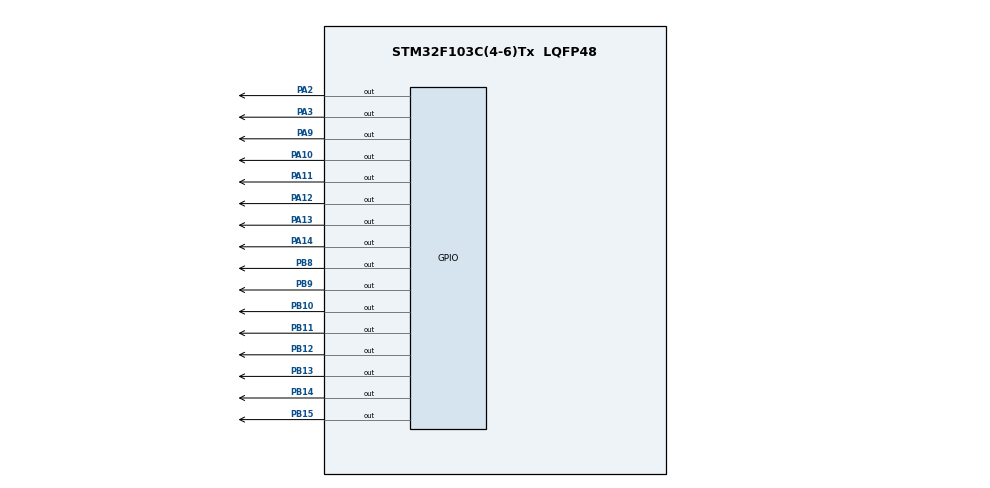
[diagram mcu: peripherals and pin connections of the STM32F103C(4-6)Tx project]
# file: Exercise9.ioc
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Mcu.Family=STM32F1
Mcu.Name=STM32F103C(4-6)Tx
Mcu.Package=LQFP48
NVIC.PriorityGroup=NVIC_PRIORITYGROUP_4
NVIC.TIM2_IRQn=true\:0\:0\:false\:false\:true\:true\:true
PA10.Signal=GPIO_Output
PA11.Signal=GPIO_Output
PA12.Signal=GPIO_Output
PA13.Signal=GPIO_Output
PA14.Signal=GPIO_Output
PA2.Signal=GPIO_Output
PA3.Signal=GPIO_Output
PA9.Signal=GPIO_Output
PB10.Signal=GPIO_Output
PB11.Signal=GPIO_Output
PB12.Signal=GPIO_Output
PB13.Signal=GPIO_Output
PB14.Signal=GPIO_Output
PB15.Signal=GPIO_Output
PB8.Signal=GPIO_Output
PB9.Signal=GPIO_Output
PD0-OSC_IN.Mode=HSE-External-Oscillator
PD0-OSC_IN.Signal=RCC_OSC_IN
PD1-OSC_OUT.Mode=HSE-External-Oscillator
PD1-OSC_OUT.Signal=RCC_OSC_OUT
ProjectManager.HeapSize=0x200
ProjectManager.StackSize=0x400
ProjectManager.TargetToolchain=STM32CubeIDE
RCC.APB1Freq_Value=8000000
RCC.APB2Freq_Value=8000000
TIM2.Period=10-1
TIM2.Prescaler=800-1
VP_SYS_VS_ND.Mode=No_Debug
VP_TIM2_VS_ClockSourceINT.Mode=Internal
board=custom

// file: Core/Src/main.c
/* USER CODE BEGIN Header */
/**
  ******************************************************************************
  * @file           : main.c
  * @brief          : Main program body
  ******************************************************************************
  * @attention
  *
  * <h2><center>&copy; Copyright (c) 2021 STMicroelectronics.
  * All rights reserved.</center></h2>
  *
  * This software component is licensed by ST under BSD 3-Clause license,
  * the "License"; You may not use this file except in compliance with the
  * License. You may obtain a copy of the License at:
  *                        opensource.org/licenses/BSD-3-Clause
  *
  ******************************************************************************
  */
/* USER CODE END Header */
#include "main.h"

TIM_HandleTypeDef htim2;

void SystemClock_Config(void);
static void MX_GPIO_Init(void);
static void MX_TIM2_Init(void);

/* USER CODE BEGIN 0 */

int timer0_counter = 0;
int timer0_flag = 0;
int TIMER_CYCLE = 10;
//Set th�?i gian cho timer (th�?i gian delay)
void setTimer0(int duration){
	timer0_counter = duration/TIMER_CYCLE;
	timer0_flag = 0;
}
//Hàm sẽ được g�?i trong hàm interrupt
void timer_run(){
	if(timer0_counter > 0){
		timer0_counter--;
		if(timer0_counter == 0){
			timer0_flag = 1;
		}
	}
}
//Số LED trong maxtrix tối đa
const int MAX_LED_MATRIX = 8;
//Mảng chứa các thành phần 8bits sẽ hiển thị trên matrix LED
uint8_t matrix_buffer[9] = {0x18, 0x3C, 0x66, 0x66, 0x7E, 0x7E, 0x66, 0x66, 0x00};
int index_led_matrix = 0;
//Hiển thị cột theo giá trị matrix[index] và dịch sang phải theo từng PBx
void displayColMatrix(int index){
	HAL_GPIO_WritePin(GPIOB, GPIO_PIN_8, (matrix_buffer[index]>>0)&0x01);
	HAL_GPIO_WritePin(GPIOB, GPIO_PIN_9, (matrix_buffer[index]>>1)&0x01);
	HAL_GPIO_WritePin(GPIOB, GPIO_PIN_10, (matrix_buffer[index]>>2)&0x01);
	HAL_GPIO_WritePin(GPIOB, GPIO_PIN_11, (matrix_buffer[index]>>3)&0x01);
	HAL_GPIO_WritePin(GPIOB, GPIO_PIN_12, (matrix_buffer[index]>>4)&0x01);
	HAL_GPIO_WritePin(GPIOB, GPIO_PIN_13, (matrix_buffer[index]>>5)&0x01);
	HAL_GPIO_WritePin(GPIOB, GPIO_PIN_14, (matrix_buffer[index]>>6)&0x01);
	HAL_GPIO_WritePin(GPIOB, GPIO_PIN_15, (matrix_buffer[index]>>7)&0x01);
}
//Hiển thị hàng theo giá trị [index] và dịch sang phải theo từng PAx
void displayRowMatrix(int index){
	HAL_GPIO_WritePin(GPIOA, GPIO_PIN_2, (index>>0)&0x01);
	HAL_GPIO_WritePin(GPIOA, GPIO_PIN_3, (index>>1)&0x01);
	HAL_GPIO_WritePin(GPIOA, GPIO_PIN_9, (index>>2)&0x01);
	HAL_GPIO_WritePin(GPIOA, GPIO_PIN_10, (index>>3)&0x01);
	HAL_GPIO_WritePin(GPIOA, GPIO_PIN_11, (index>>4)&0x01);
	HAL_GPIO_WritePin(GPIOA, GPIO_PIN_12, (index>>5)&0x01);
	HAL_GPIO_WritePin(GPIOA, GPIO_PIN_13, (index>>6)&0x01);
	HAL_GPIO_WritePin(GPIOA, GPIO_PIN_14, (index>>7)&0x01);
}
//Update giá trị từng hàng và các cột cho cả matrix LED
void updateLEDMatrix (int index ){
	displayRowMatrix(0x01<<index);
	displayColMatrix(index);
}

/* USER CODE END 0 */

int main(void)
{

  /* MCU Configuration--------------------------------------------------------*/

  /* Reset of all peripherals, Initializes the Flash interface and the Systick. */
  HAL_Init();

  /* Configure the system clock */
  SystemClock_Config();

  /* Initialize all configured peripherals */
  MX_GPIO_Init();
  MX_TIM2_Init();
  /* USER CODE BEGIN 2 */
  HAL_TIM_Base_Start_IT(&htim2);
  /* USER CODE END 2 */

  /* Infinite loop */
  /* USER CODE BEGIN WHILE */
  setTimer0(1000);
    while (1)
    {
    /* USER CODE END WHILE */

    /* USER CODE BEGIN 3 */
    	if(timer0_flag == 1){
    		updateLEDMatrix(index_led_matrix++);
    		if(index_led_matrix > 8) {
    			index_led_matrix = 0;
    		}
    		setTimer0(10);
    	}

    }
  /* USER CODE END 3 */
}

void SystemClock_Config(void)
{
  RCC_OscInitTypeDef RCC_OscInitStruct = {0};
  RCC_ClkInitTypeDef RCC_ClkInitStruct = {0};

  /** Initializes the RCC Oscillators according to the specified parameters
  * in the RCC_OscInitTypeDef structure.
  */
  RCC_OscInitStruct.OscillatorType = RCC_OSCILLATORTYPE_HSI;
  RCC_OscInitStruct.HSIState = RCC_HSI_ON;
  RCC_OscInitStruct.HSICalibrationValue = RCC_HSICALIBRATION_DEFAULT;
  RCC_OscInitStruct.PLL.PLLState = RCC_PLL_NONE;
  if (HAL_RCC_OscConfig(&RCC_OscInitStruct) != HAL_OK)
  {
    Error_Handler();
  }
  /** Initializes the CPU, AHB and APB buses clocks
  */
  RCC_ClkInitStruct.ClockType = RCC_CLOCKTYPE_HCLK|RCC_CLOCKTYPE_SYSCLK
                              |RCC_CLOCKTYPE_PCLK1|RCC_CLOCKTYPE_PCLK2;
  RCC_ClkInitStruct.SYSCLKSource = RCC_SYSCLKSOURCE_HSI;
  RCC_ClkInitStruct.AHBCLKDivider = RCC_SYSCLK_DIV1;
  RCC_ClkInitStruct.APB1CLKDivider = RCC_HCLK_DIV1;
  RCC_ClkInitStruct.APB2CLKDivider = RCC_HCLK_DIV1;

  if (HAL_RCC_ClockConfig(&RCC_ClkInitStruct, FLASH_LATENCY_0) != HAL_OK)
  {
    Error_Handler();
  }
}

static void MX_TIM2_Init(void)
{

  TIM_ClockConfigTypeDef sClockSourceConfig = {0};
  TIM_MasterConfigTypeDef sMasterConfig = {0};

  htim2.Instance = TIM2;
  htim2.Init.Prescaler = 800-1;
  htim2.Init.CounterMode = TIM_COUNTERMODE_UP;
  htim2.Init.Period = 10-1;
  htim2.Init.ClockDivision = TIM_CLOCKDIVISION_DIV1;
  htim2.Init.AutoReloadPreload = TIM_AUTORELOAD_PRELOAD_DISABLE;
  if (HAL_TIM_Base_Init(&htim2) != HAL_OK)
  {
    Error_Handler();
  }
  sClockSourceConfig.ClockSource = TIM_CLOCKSOURCE_INTERNAL;
  if (HAL_TIM_ConfigClockSource(&htim2, &sClockSourceConfig) != HAL_OK)
  {
    Error_Handler();
  }
  sMasterConfig.MasterOutputTrigger = TIM_TRGO_RESET;
  sMasterConfig.MasterSlaveMode = TIM_MASTERSLAVEMODE_DISABLE;
  if (HAL_TIMEx_MasterConfigSynchronization(&htim2, &sMasterConfig) != HAL_OK)
  {
    Error_Handler();
  }

}

static void MX_GPIO_Init(void)
{
  GPIO_InitTypeDef GPIO_InitStruct = {0};

  /* GPIO Ports Clock Enable */
  __HAL_RCC_GPIOD_CLK_ENABLE();
  __HAL_RCC_GPIOA_CLK_ENABLE();
  __HAL_RCC_GPIOB_CLK_ENABLE();

  /*Configure GPIO pin Output Level */
  HAL_GPIO_WritePin(GPIOA, GPIO_PIN_2|GPIO_PIN_3|GPIO_PIN_9|GPIO_PIN_10
                          |GPIO_PIN_11|GPIO_PIN_12|GPIO_PIN_13|GPIO_PIN_14, GPIO_PIN_RESET);

  /*Configure GPIO pin Output Level */
  HAL_GPIO_WritePin(GPIOB, GPIO_PIN_10|GPIO_PIN_11|GPIO_PIN_12|GPIO_PIN_13
                          |GPIO_PIN_14|GPIO_PIN_15|GPIO_PIN_8|GPIO_PIN_9, GPIO_PIN_RESET);

  /*Configure GPIO pins : PA2 PA3 PA9 PA10
                           PA11 PA12 PA13 PA14 */
  GPIO_InitStruct.Pin = GPIO_PIN_2|GPIO_PIN_3|GPIO_PIN_9|GPIO_PIN_10
                          |GPIO_PIN_11|GPIO_PIN_12|GPIO_PIN_13|GPIO_PIN_14;
  GPIO_InitStruct.Mode = GPIO_MODE_OUTPUT_PP;
  GPIO_InitStruct.Pull = GPIO_NOPULL;
  GPIO_InitStruct.Speed = GPIO_SPEED_FREQ_LOW;
  HAL_GPIO_Init(GPIOA, &GPIO_InitStruct);

  /*Configure GPIO pins : PB10 PB11 PB12 PB13
                           PB14 PB15 PB8 PB9 */
  GPIO_InitStruct.Pin = GPIO_PIN_10|GPIO_PIN_11|GPIO_PIN_12|GPIO_PIN_13
                          |GPIO_PIN_14|GPIO_PIN_15|GPIO_PIN_8|GPIO_PIN_9;
  GPIO_InitStruct.Mode = GPIO_MODE_OUTPUT_PP;
  GPIO_InitStruct.Pull = GPIO_NOPULL;
  GPIO_InitStruct.Speed = GPIO_SPEED_FREQ_LOW;
  HAL_GPIO_Init(GPIOB, &GPIO_InitStruct);

}

/* USER CODE BEGIN 4 */

void HAL_TIM_PeriodElapsedCallback(TIM_HandleTypeDef *htim){
	timer_run();
}

/* USER CODE END 4 */

void Error_Handler(void)
{
  __disable_irq();
  while (1)
  {
  }
}

/************************ (C) COPYRIGHT STMicroelectronics *****END OF FILE****/
